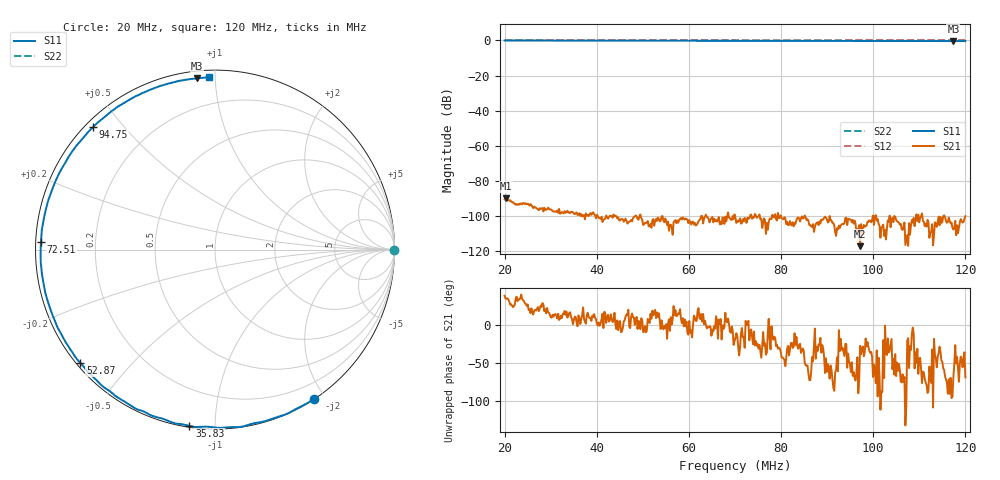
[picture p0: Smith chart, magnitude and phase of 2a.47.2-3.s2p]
! Anritsu VNA Master:  Model: MS2036C/10/77
! SN:  1601066
! /bd0/18may26.balun/2a.47.2.s2p
! Existing Calibration Information:
! TYPE:  Current Settings,  Active Cal Settings
! TIME:  05/26/2018 07:52:50 PM,  05/26/2018 07:26:54 PM
! INTERNAL TEMP:  45.3 C,  45.5 C
! # POINTS:  500,  500
! START FREQ:  20.000 MHz,  20.000 MHz
! STOP FREQ:  120.000 MHz,  120.000 MHz
! SOURCE POWER:  High,  High
! IFBW:  50 Hz,  50 Hz
! AVG FACTOR:  1 ,  1
! REF PLANE 1:  0 mm,  0 mm
! REF PLANE 2:  0 mm,  0 mm
! CAL TYPE:  Full S11,  Full S11
! CAL METHOD:  SOLT,  SOLT
! CAL LINE TYPE:  Coax,  Coax
! DUT PORT 1:  K-Conn(M),  K-Conn(M)
! DUT PORT 2:  K-Conn(M),  K-Conn(M)
! CAL STATUS:  OK: Accuracy High,  --
# GHZ S DB R 50.0
! FREQ.GHZ  S11DB  S11A  S21DB  S21A  S12DB  S12A  S22DB  S22A
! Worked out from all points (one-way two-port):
!   500 points, 20 MHz to 120 MHz, reference 50 ohm
!   highest |S21| = -90.08 dB at 20.2 MHz (marker M1); lowest = -117.3 dB at 97.15 MHz (marker M2)
!   lowest |S11| = -0.4 dB at 117.4 MHz (marker M3), VSWR 47.89, Z = 1.89 + j44.9 ohm
!   |S11| at or under -10 dB: nowhere
!   |S22| runs from 0.0 to 0.0 dB; largest |S21 - S12| = 1
!   S11 on the Smith chart (normalised r, x): 20 MHz: 0.01, -1.87; 35.83 MHz: 0.01, -0.87; 52.87 MHz: 0.01, -0.36; 72.51 MHz: 0.02, +0.02; 94.75 MHz: 0.02, +0.42; 120 MHz: 0.04, +0.97
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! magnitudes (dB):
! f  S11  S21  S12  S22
! 20 MHz  0.0  -90.6  0.0  0.0
! 20.2 MHz  0.0  -90.1  0.0  0.0
! 23.81 MHz  0.0  -93.4  0.0  0.0
! 27.82 MHz  -0.1  -96.1  0.0  0.0
! 29.62 MHz  0.0  -95.9  0.0  0.0
! 33.43 MHz  -0.1  -97.8  0.0  0.0
! 35.03 MHz  -0.1  -98.6  0.0  0.0
! 35.83 MHz  -0.1  -99.5  0.0  0.0
! 36.83 MHz  -0.1  -100.2  0.0  0.0
! 41.84 MHz  -0.1  -101.6  0.0  0.0
! 43.05 MHz  -0.1  -100.1  0.0  0.0
! 44.65 MHz  -0.1  -100.8  0.0  0.0
! 52.87 MHz  -0.2  -101.8  0.0  0.0
! 53.47 MHz  -0.2  -101.8  0.0  0.0
! 70.1 MHz  -0.2  -101.2  0.0  0.0
! 72.51 MHz  -0.3  -104.0  0.0  0.0
! 86.73 MHz  -0.3  -106.3  0.0  0.0
! 94.75 MHz  -0.3  -102.0  0.0  0.0
! 97.15 MHz  -0.3  -117.3  0.0  0.0
! 103.4 MHz  -0.3  -103.2  0.0  0.0
! 117.4 MHz  -0.4  -107.8  0.0  0.0
! 120 MHz  -0.4  -100.2  0.0  0.0
